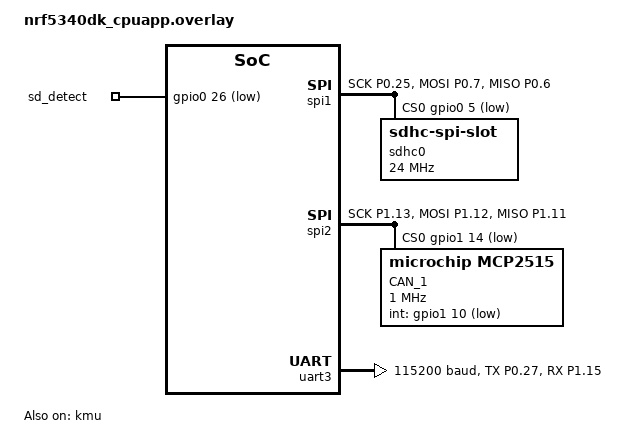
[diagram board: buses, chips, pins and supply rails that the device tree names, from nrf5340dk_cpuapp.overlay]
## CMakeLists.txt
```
# SPDX-License-Identifier: Apache-2.0

cmake_minimum_required(VERSION 3.20.0)

macro(app_set_runner_args)
  board_runner_args(dfu-util "--dfuse-modifiers=force:mass-erase")
  board_runner_args(pyocd "--erase")
  board_runner_args(nrfjprog "--erase")
endmacro()

find_package(Zephyr REQUIRED HINTS $ENV{ZEPHYR_BASE})
project(telemetry_system)

FILE(GLOB app_sources src/*.c)
target_sources(app PRIVATE ${app_sources})

target_include_directories(app PUBLIC ${ZEPHYR_BASE}/subsys/net/ip)
target_include_directories(app PRIVATE ${ZEPHYR_BASE}/subsys/fs/nvs)

target_sources(app PRIVATE src/main.c)

target_sources(app PRIVATE src/task/wifi_sta.c) 
target_sources(app PRIVATE src/task/udp_client.c) 
target_sources(app PRIVATE src/task/led.c) 
target_sources(app PRIVATE src/task/button_manager.c)
target_sources(app PRIVATE src/task/data_sender.c)
target_sources(app PRIVATE src/task/data_logger.c)
target_sources(app PRIVATE src/task/config_read.c)
target_sources(app PRIVATE src/task/can_controller.c)
target_sources(app PRIVATE src/task/gps_controller.c)
```

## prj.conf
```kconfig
# System settings
CONFIG_NEWLIB_LIBC=y

# DC/DC Mode configuration
CONFIG_BOARD_ENABLE_DCDC_APP=n
CONFIG_BOARD_ENABLE_DCDC_HV=n
CONFIG_BOARD_ENABLE_DCDC_NET=n


# Memories
CONFIG_MAIN_STACK_SIZE=196608
CONFIG_SYSTEM_WORKQUEUE_STACK_SIZE=16384

# Debugging
CONFIG_STACK_SENTINEL=y
CONFIG_DEBUG_COREDUMP=y
CONFIG_DEBUG_COREDUMP_BACKEND_LOGGING=y
CONFIG_DEBUG_COREDUMP_MEMORY_DUMP_MIN=y

# Kernel options
CONFIG_ENTROPY_GENERATOR=y

# Logging
CONFIG_LOG=y
CONFIG_LOG_BUFFER_SIZE=2048
CONFIG_POSIX_CLOCK=y

CONFIG_PM=y


#JSON
CONFIG_JSON_LIBRARY=y

#file system
CONFIG_DISK_ACCESS=y
CONFIG_FILE_SYSTEM=y
CONFIG_FAT_FILESYSTEM_ELM=y

# SD
CONFIG_SDHC=y
CONFIG_SPI_SDHC=y

#SPI
CONFIG_SPI=y

#UART
CONFIG_SERIAL=y
CONFIG_UART_INTERRUPT_DRIVEN=y

#CAN
CONFIG_CAN=y
CONFIG_CAN_INIT_PRIORITY=80

#NVS
CONFIG_FLASH=y
CONFIG_FLASH_PAGE_LAYOUT=y
CONFIG_NVS=y
CONFIG_NVS_LOG_LEVEL_DBG=y
CONFIG_MPU_ALLOW_FLASH_WRITE=y
```

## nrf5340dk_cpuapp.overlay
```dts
// To get started, press Ctrl+Space to bring up the completion menu and view the available nodes.

// You can also use the buttons in the sidebar to perform actions on nodes.
// Actions currently available include:

// * Enabling / disabling the node
// * Adding the bus to a bus
// * Removing the node
// * Connecting ADC channels

// For more help, browse the DeviceTree documentation at https://docs.zephyrproject.org/latest/guides/dts/index.html
// You can also visit the nRF DeviceTree extension documentation at https://nrfconnect.github.io/vscode-nrf-connect/devicetree/nrfdevicetree.html

&spi1 {
    status = "okay";
    cs-gpios = <&gpio0 5 GPIO_ACTIVE_LOW>;
    pinctrl-0 = <&spi1_default>;
    pinctrl-names = "default";
    
    sdhc0: sdhc@0 {
        compatible = "zephyr,sdhc-spi-slot";
        reg = <0>;
        status = "okay";
        mmc {
            compatible = "zephyr,sdmmc-disk";
            status = "okay";
        };
        spi-max-frequency = <24000000>;
	};
};

&spi2 {
    status = "okay";
    cs-gpios = <&gpio1 14 GPIO_ACTIVE_LOW>;
    pinctrl-0 = <&spi2_default>;
    pinctrl-names = "default";

    canbus:mcp2515@0 {
		compatible = "microchip,mcp2515";
		spi-max-frequency = <1000000>;
		int-gpios = <&gpio1 10 (GPIO_ACTIVE_LOW)>; 
		status = "okay";
		label = "CAN_1";
		reg = <0x0>;
		osc-freq = <16000000>;
		bus-speed = <500000>;
		sjw = <1>;
		prop-seg = <2>;
		phase-seg1 = <7>;
		phase-seg2 = <6>;
		#address-cells = <1>;
		#size-cells = <0>;
	};
};



&pinctrl {
    spi1_default: spi1_default {
        group1 {
            psels = <NRF_PSEL(SPIM_SCK, 0, 25)>,
                    <NRF_PSEL(SPIM_MOSI, 0, 7)>,
                    <NRF_PSEL(SPIM_MISO, 0, 6)>;
        };
    };

    spi2_default: spi2_default {
        group1 {
            psels = <NRF_PSEL(SPIM_SCK, 1, 13)>,
                    <NRF_PSEL(SPIM_MOSI, 1, 12)>,
                    <NRF_PSEL(SPIM_MISO, 1, 11)>;
        };
    };

    uart3_default: uart3_default {
        group1 {
            psels = <NRF_PSEL(UART_TX, 0, 27)>, <NRF_PSEL(UART_RX, 1, 15)>;
        };
    };
};

/ {
    buttons {
        sd_detect: sd_detect {
            gpios = <&gpio0 26 (GPIO_ACTIVE_LOW | GPIO_PULL_UP)>;
        };
    };

    aliases {
		sddetect = &sd_detect;
	};

    chosen {
		zephyr,canbus = &canbus;
        zephyr,shell-uart-config= &uart3;
	};
};
/delete-node/ &{/pin-controller/i2c1_default/group1/};
/delete-node/ &{/pin-controller/i2c1_sleep/group1/};


&i2c1 {
    status = "disabled";
};

&uart1 {
    status = "disabled";
};

&uart1_default {
    group1 {
        psels = <NRF_PSEL(UART_TX, 0, 27)>;
    };

    group2 {
        psels = <NRF_PSEL(UART_RX, 1, 15)>;
    };
};
/delete-node/ &{/pin-controller/spi4_sleep/group1/};
/delete-node/ &{/pin-controller/spi4_default/group1/};

&spi4 {
    cs-gpios = <&gpio0 3 GPIO_ACTIVE_LOW>;
};
/delete-node/ &{/pin-controller/uart1_sleep/group1/};
/delete-node/ &{/pin-controller/pwm0_default/group1/};
/delete-node/ &{/pin-controller/pwm0_sleep/group1/};

&spi4_default {
    group1 {
        psels = <NRF_PSEL(SPIM_MOSI, 0, 2)>,
                <NRF_PSEL(SPIM_MISO, 0, 1)>,
                <NRF_PSEL(SPIM_SCK, 0, 0)>;
    };
};

&uart2 {
    status = "disabled";
};

&uart3 {
    status = "okay";
    current-speed = <115200>;
    pinctrl-0 = <&uart3_default>;
    pinctrl-names = "default";
};

&kmu {
    status = "okay";
};
```

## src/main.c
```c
/*! --------------------------------------------------------------------
 *	Telemetry System	-	@file main.c
 *----------------------------------------------------------------------
 * HES-SO Valais Wallis 
 * Systems Engineering
 * Infotronics
 * ---------------------------------------------------------------------
 * @author Sylvestre van Kappel
 * @date 02.08.2023
 * ---------------------------------------------------------------------
 * @brief Main of Telemetry system. Starts all tasks of the program
 * ---------------------------------------------------------------------
 * Telemetry system for the Valais Wallis Racing Team.
 * This file contains code for the onboard device of the telemetry
 * system. The system receives the data from the sensors on the CAN bus 
 * and the data from the GPS on a UART port. An SD Card contains a 
 * configuration file with all the system parameters. The measurements 
 * are sent via Wi-Fi to a computer on the base station. The measurements 
 * are also saved in a CSV file on the SD card. 
 *--------------------------------------------------------------------*/


//includes
#include <zephyr/kernel.h>
#include <nrfx_clock.h>

// include all tasks files
//#include "task/wifi_sta.h"
//#include "task/udp_client.h"
#include "task/led.h"
//#include "task/data_sender.h"
#include "task/data_logger.h"
#include "task/memory_management.h"
#include "task/config_read.h"
#include "task/button_manager.h"
#include "task/can_controller.h"
//#include "task/gps_controller.h"


//--------------------------------------------------------------------------
//			main
int main(void)
{

	/* 128MHz clock*/
	nrfx_clock_divider_set(NRF_CLOCK_DOMAIN_HFCLK,NRF_CLOCK_HFCLK_DIV_1);
	printk("Starting %s with CPU frequency: %d MHz\n", CONFIG_BOARD, SystemCoreClock/MHZ(1));


	Task_Led_Init();				//start led controller Thread
	
	Task_Button_Manager_Init();		//start button manager

	int ret = read_config();		//read configuration file

	if(ret == 0)			//configuration file ok
	{
		Task_Data_Logger_Init();		//start data logger

		Task_CAN_Controller_Init();		//start can controller thread

		k_sleep(K_SECONDS(7));
		if(configFile.RecordOnStart)                            //if record autostart is selected
        	data_Logger_button_handler_start();
	}

	k_sleep( K_FOREVER );
	return 0;
}
```
